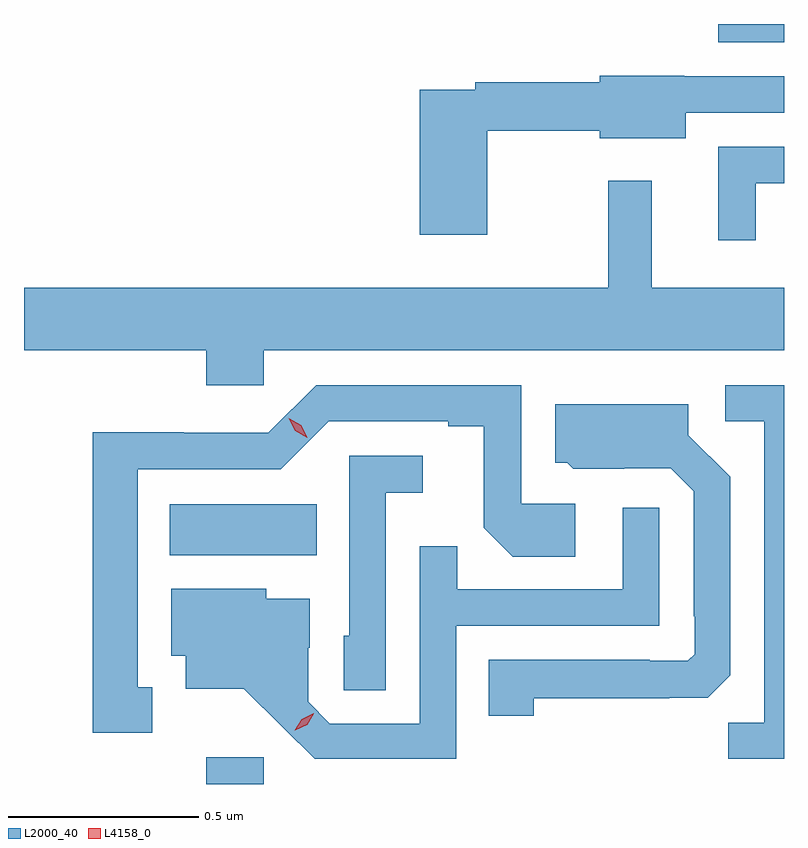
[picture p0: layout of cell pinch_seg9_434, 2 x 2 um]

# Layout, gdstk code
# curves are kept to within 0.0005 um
import gdstk
lib = gdstk.Library(unit=1e-6, precision=1e-09)
def R(c, l, rs):  # rectangles x0, y0, x1, y1
    for r in rs: c.add(gdstk.rectangle(r[:2], r[2:], *l))
def P(c, l, *ps):  # polygons
    for p in ps: c.add(gdstk.Polygon(p, *l))
L2000_40 = (2000, 40)
L4158_0 = (4158, 0)

pinch_seg9_434 = lib.new_cell('pinch_seg9_434')
R(pinch_seg9_434, L2000_40, [(232.259,1244.562,232.41,1244.632), (232.163,1245.164,232.55,1245.298), (233.606,1246.514,233.779,1246.562)])
P(pinch_seg9_434, L2000_40, [(232.998,1246.281),(233.294,1246.281),(233.294,1246.262),(233.521,1246.262),(233.521,1246.329),(233.779,1246.329),(233.779,1246.425),(233.517,1246.425),(233.517,1246.426),(233.294,1246.426),(233.294,1246.409),(232.966,1246.409),(232.966,1246.389),(232.82,1246.389),(232.82,1246.008),(232.998,1246.008)],
  [(233.704,1246.143),(233.779,1246.143),(233.779,1246.239),(233.606,1246.239),(233.606,1245.993),(233.704,1245.993)],
  [(232.41,1245.704),(233.779,1245.704),(233.779,1245.868),(233.431,1245.868),(233.431,1246.15),(233.317,1246.15),(233.317,1245.868),(231.779,1245.868),(231.779,1245.704),(232.259,1245.704),(232.259,1245.611),(232.41,1245.611)],
  [(233.779,1245.612),(233.625,1245.612),(233.625,1245.516),(233.727,1245.516),(233.727,1244.723),(233.632,1244.723),(233.632,1244.628),(233.779,1244.628)],
  [(232.117,1244.817),(232.078,1244.817),(232.078,1245.39),(232.455,1245.39),(232.581,1245.516),(232.895,1245.516),(232.895,1245.504),(232.989,1245.504),(232.989,1245.236),(233.065,1245.16),(233.23,1245.16),(233.23,1245.3),(233.088,1245.3),(233.088,1245.612),(232.548,1245.612),(232.422,1245.486),(232.2,1245.486),(232.2,1245.488),(231.96,1245.488),(231.96,1244.697),(232.117,1244.697)],
  [(233.121,1244.788),(233.477,1244.788),(233.477,1244.789),(233.578,1244.789),(233.637,1244.848),(233.637,1245.37),(233.527,1245.48),(233.527,1245.562),(233.177,1245.562),(233.177,1245.408),(233.208,1245.408),(233.224,1245.392),(233.358,1245.392),(233.358,1245.393),(233.481,1245.393),(233.541,1245.333),(233.541,1245.004),(233.544,1245.004),(233.544,1244.904),(233.526,1244.886),(233.426,1244.886),(233.426,1244.889),(233.002,1244.889),(233.002,1244.742),(233.121,1244.742)],
  [(232.731,1245.329),(232.828,1245.329),(232.828,1245.426),(232.635,1245.426),(232.635,1244.952),(232.62,1244.952),(232.62,1244.809),(232.731,1244.809)],
  [(232.917,1244.979),(233.451,1244.979),(233.451,1245.289),(233.355,1245.289),(233.355,1245.075),(232.919,1245.075),(232.919,1245.188),(232.821,1245.188),(232.821,1244.721),(232.584,1244.721),(232.527,1244.778),(232.527,1244.92),(232.531,1244.92),(232.531,1245.049),(232.416,1245.049),(232.416,1245.076),(232.166,1245.076),(232.166,1244.9),(232.205,1244.9),(232.205,1244.813),(232.357,1244.813),(232.544,1244.628),(232.917,1244.628)])
P(pinch_seg9_434, L4158_0, [(232.492,1244.703),(232.492,1244.703),(232.51,1244.733),(232.541,1244.748),(232.541,1244.748),(232.541,1244.747),(232.524,1244.718),(232.493,1244.703)],
  [(232.525,1245.473),(232.493,1245.492),(232.476,1245.525),(232.476,1245.525),(232.476,1245.525),(232.508,1245.506),(232.525,1245.474),(232.525,1245.473)])

lib.write_gds('pinch_seg9_434.gds')
